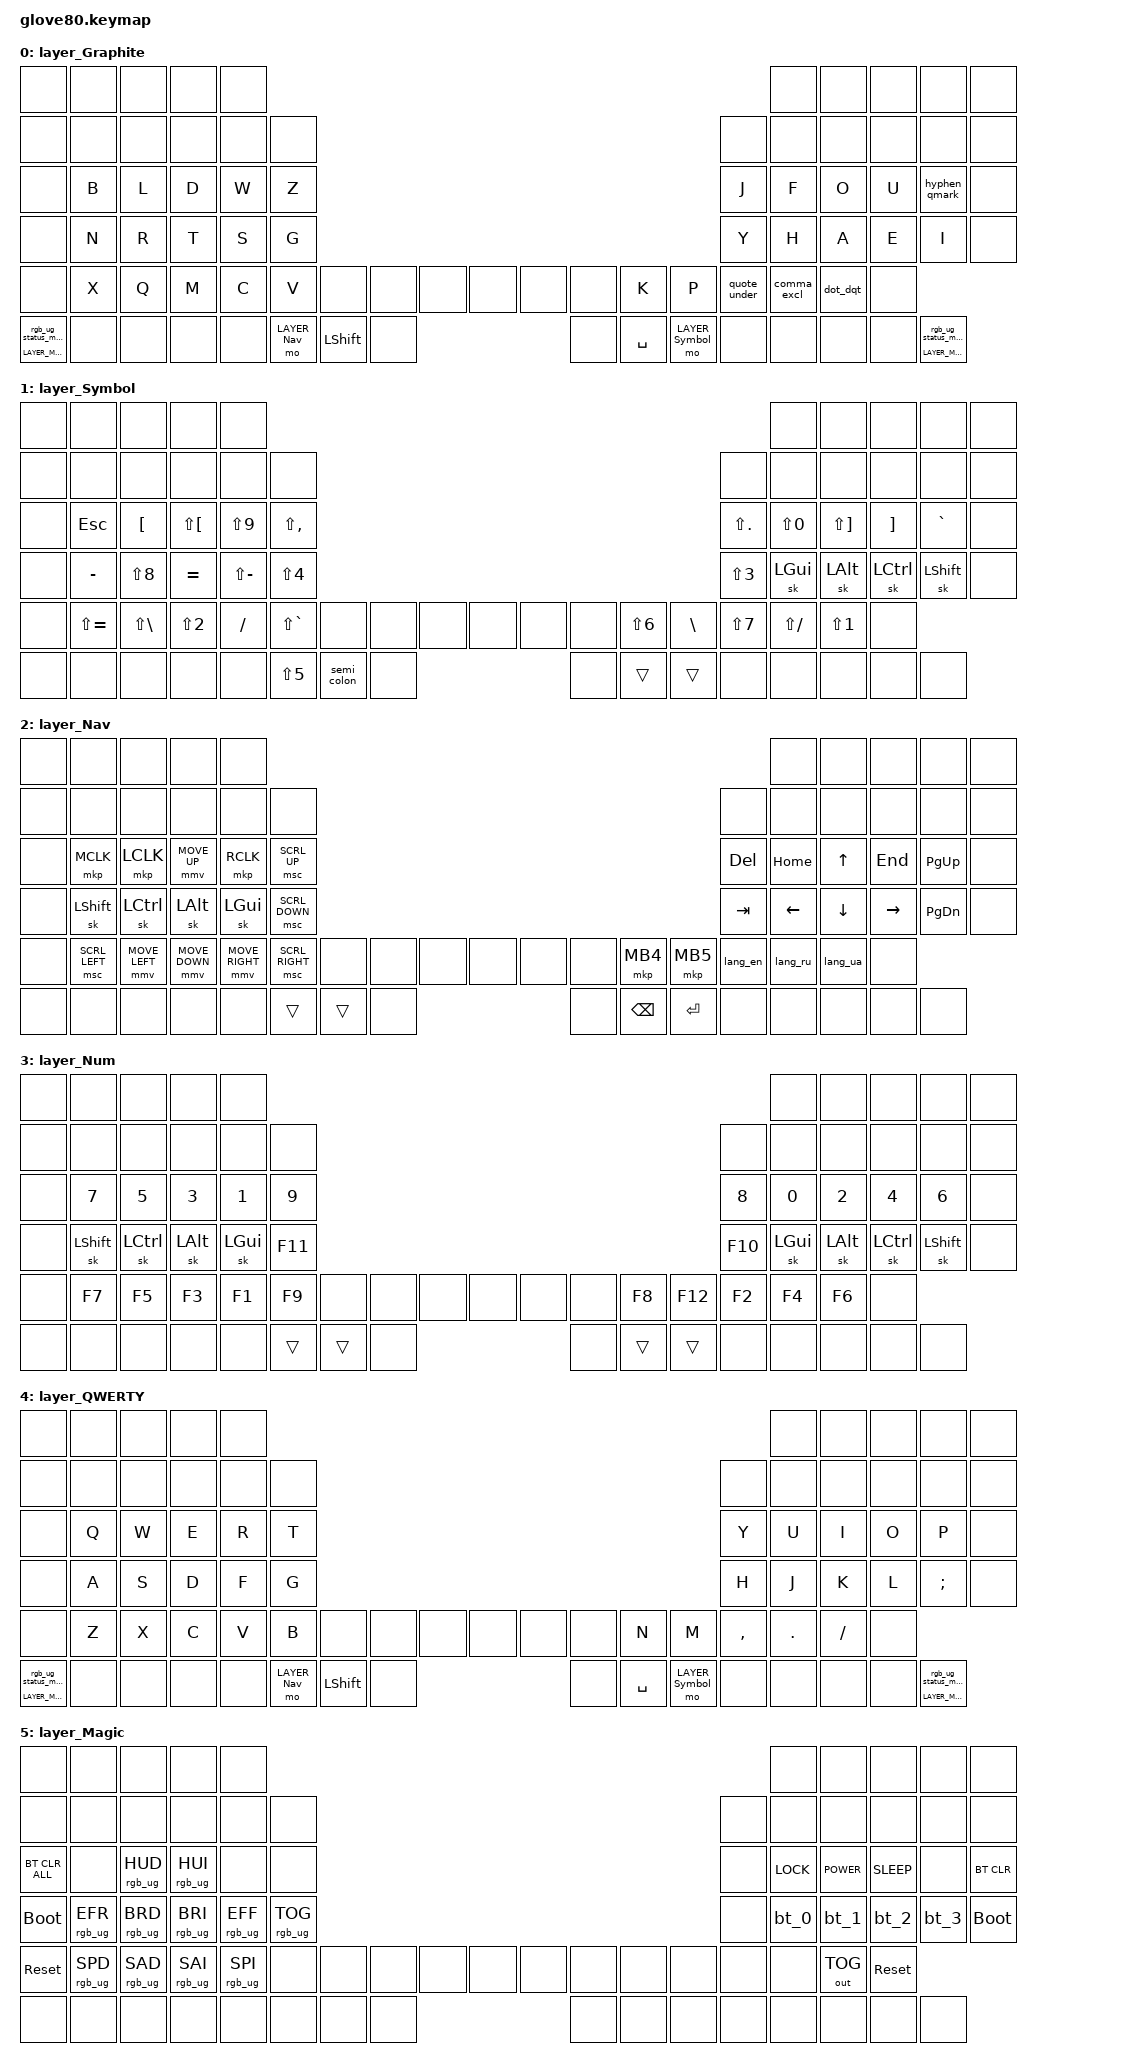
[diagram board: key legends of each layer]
/*
 * Copyright (c) 2020 The ZMK Contributors
 * Copyright (c) 2023 Innaworks Development Limited, trading as MoErgo
 *
 * SPDX-License-Identifier: MIT
 */

#include <behaviors.dtsi>
#include <dt-bindings/zmk/outputs.h>
#include <dt-bindings/zmk/keys.h>
#include <dt-bindings/zmk/bt.h>
#include <dt-bindings/zmk/rgb.h>

#define LAYER_Graphite 0
#define LAYER_Symbol 1
#define LAYER_Nav 2
#define LAYER_Num 3
#define LAYER_QWERTY 4
#define LAYER_Magic 5

#ifndef OPERATING_SYSTEM
#define OPERATING_SYSTEM 1 // linux
/* #define OPERATING_SYSTEM 2 // macos */
/* #define OPERATING_SYSTEM 3 // windows */
#endif

#if OPERATING_SYSTEM == 2
    #define _C      LG
    #define _REDO   _C(LS(Z))
    #define _POWER  K_POWER
    #define _W      LA
    #define _HOME   _C(LEFT)
    #define _END    _C(RIGHT)
    #define _LOCK   _C(LC(Q))
#elif OPERATING_SYSTEM == 1
    #define _C      LC
    #define _REDO   _C(Y)
    #define _POWER  C_POWER
    #define _W      _C
    #define _HOME   HOME
    #define _END    END
    #define _LOCK   K_LOCK
#elif OPERATING_SYSTEM == 3
    #define _C      LC
    #define _REDO   _C(Y)
    #define _POWER  C_POWER
    #define _W      _C
    #define _HOME   HOME
    #define _END    END
    #define _LOCK   LG(L)
#endif

#define _SLEEP      C_SLEEP
#define _SEL_ALL    _C(A)
#define _UNDO       _C(Z)
#define _CUT        _C(X)
#define _COPY       _C(C)
#define _PASTE      _C(V)
#define _SAVE       _C(S)
#define _FIND       _C(F)
#define _FIND_NEXT  _C(G)
#define _FIND_PREV  _C(LS(G))

// Symbol overrides for en-US
#ifndef KEYMAP_DRAWER
#undef  AMPS
#define AMPS  LS(N7)
#undef  AT
#define AT    LS(N2)
#undef  CARET
#define CARET LS(N6)
#undef  COLON
#define COLON LS(SEMI)
#undef  DLLR
#define DLLR  LS(N4)
#undef  DQT
#define DQT   LS(SQT)
#undef  EXCL
#define EXCL  LS(N1)
#undef  GT
#define GT    LS(DOT)
#undef  HASH
#define HASH  LS(N3)
#undef  LBRC
#define LBRC  LS(LBKT)
#undef  LPAR
#define LPAR  LS(N9)
#undef  LT
#define LT    LS(COMMA)
#undef  PIPE
#define PIPE  LS(BSLH)
#undef  PLUS
#define PLUS  LS(EQUAL)
#undef  PRCNT
#define PRCNT LS(N5)
#undef  QMARK
#define QMARK LS(FSLH)
#undef  RBRC
#define RBRC  LS(RBKT)
#undef  RPAR
#define RPAR  LS(N0)
#undef  STAR
#define STAR  LS(N8)
#undef  TILDE
#define TILDE LS(GRAVE)
#undef  UNDER
#define UNDER LS(MINUS)
#endif

#define ALPHA_LAYERS LAYER_Graphite LAYER_QWERTY
#define COMBO_TIMEOUT_MS 75

// Mouse configuration
#define ZMK_MOUSE_DEFAULT_MOVE_VAL 1600
#define ZMK_MOUSE_DEFAULT_SCRL_VAL 20
#include <dt-bindings/zmk/mouse.h>

&mmv {
    delay-ms = <0>;
    acceleration-exponent = <1>;
    time-to-max-speed-ms = <400>;
};

&msc {
    delay-ms = <0>;
    acceleration-exponent = <0>;
    time-to-max-speed-ms = <200>;
};

/ {
    macros {
        rgb_ug_status_macro: rgb_ug_status_macro {
            label = "RGB_UG_STATUS";
            compatible = "zmk,behavior-macro";
            #binding-cells = <0>;
            bindings = <&rgb_ug RGB_STATUS>;
        };

        lang_en: lang_en {
            compatible = "zmk,behavior-macro";
            #binding-cells = <0>;
            bindings = <&to LAYER_Graphite>, <&kp LC(LS(LG(N1)))>;
        };

        lang_ru: lang_ru {
            compatible = "zmk,behavior-macro";
            #binding-cells = <0>;
            bindings = <&to LAYER_QWERTY>, <&kp LC(LS(LG(N2)))>;
        };

        lang_ua: lang_ua {
            compatible = "zmk,behavior-macro";
            #binding-cells = <0>;
            bindings = <&to LAYER_QWERTY>, <&kp LC(LS(LG(N3)))>;
        };

        bt_0: bt_0 {
            compatible = "zmk,behavior-macro";
            #binding-cells = <0>;
            bindings = <&out OUT_BLE>, <&bt BT_SEL 0>;
        };

        bt_1: bt_1 {
            compatible = "zmk,behavior-macro";
            #binding-cells = <0>;
            bindings = <&out OUT_BLE>, <&bt BT_SEL 1>;
        };

        bt_2: bt_2 {
            compatible = "zmk,behavior-macro";
            #binding-cells = <0>;
            bindings = <&out OUT_BLE>, <&bt BT_SEL 2>;
        };

        bt_3: bt_3 {
            compatible = "zmk,behavior-macro";
            #binding-cells = <0>;
            bindings = <&out OUT_BLE>, <&bt BT_SEL 3>;
        };

    };

    behaviors {
        magic: magic {
            compatible = "zmk,behavior-hold-tap";
            label = "MAGIC_HOLD_TAP";
            #binding-cells = <2>;
            flavor = "tap-preferred";
            tapping-term-ms = <200>;
            bindings = <&mo>, <&rgb_ug_status_macro>;
        };

        w_caps: capsword_and_capslock {
            compatible = "zmk,behavior-mod-morph";
            label = "CAPSWORD_AND_CAPSLOCK";
            #binding-cells = <0>;
            bindings = <&caps_word>, <&kp CAPS>;
            mods = <(MOD_LSFT|MOD_RSFT)>;
        };

        quote_under: quote_and_underscore {
            compatible = "zmk,behavior-mod-morph";
            label = "QUOTE_AND_UNDERSCORE";
            #binding-cells = <0>;
            bindings = <&kp SQT>, <&kp UNDER>;
            mods = <(MOD_LSFT|MOD_RSFT)>;
        };

        hyphen_qmark: hyphen_and_question {
            compatible = "zmk,behavior-mod-morph";
            label = "HYPHEN_AND_QUESTION";
            #binding-cells = <0>;
            bindings = <&kp MINUS>, <&kp QMARK>;
            mods = <(MOD_LSFT|MOD_RSFT)>;
        };

        comma_excl: comma_and_excl {
            compatible = "zmk,behavior-mod-morph";
            label = "COMMA_AND_EXCL";
            #binding-cells = <0>;
            bindings = <&kp COMMA>, <&kp EXCL>;
            mods = <(MOD_LSFT|MOD_RSFT)>;
        };

        dot_dqt: dot_and_dqt {
            compatible = "zmk,behavior-mod-morph";
            label = "DOT_AND_DQT";
            #binding-cells = <0>;
            bindings = <&kp DOT>, <&kp DQT>;
            mods = <(MOD_LSFT|MOD_RSFT)>;
        };

        semi_colon: semi_and_colon {
            compatible = "zmk,behavior-mod-morph";
            label = "SEMI_AND_COLON";
            #binding-cells = <0>;
            bindings = <&kp SEMI>, <&kp COLON>;
            mods = <(MOD_LSFT|MOD_RSFT)>;
        };

        behavior_caps_word {
            continue-list = <
                UNDERSCORE MINUS
                BACKSPACE DELETE
                N1 N2 N3 N4 N5 N6 N7 N8 N9 N0
            >;
        };
    };

/*                    34-key layout on Glove80
 *          Outer columns, top 2 rows, and extra thumbs are all &none.
 *
 *          ╭─────────────────╮ ╭─────────────────╮
 *          │ 23 24 25 26 27  │ │  28 29 30 31 32 │
 *          │ 35 36 37 38 39  │ │  40 41 42 43 44 │
 *          │ 47 48 49 50 51  │ │  58 59 60 61 62 │
 *          ╰────────╮ 69 70  │ │  73 74 ╭────────╯
 *                   ╰────────╯ ╰────────╯
 *
 *  Graphite alpha:
 *          ╭─────────────────╮ ╭─────────────────╮
 *          │  B  L  D  W  Z  │ │  J  F  O  U  -  │
 *          │  N  R  T  S  G  │ │  Y  H  A  E  I  │
 *          │  X  Q  M  C  V  │ │  K  P  '  ,  .  │
 *          ╰────────╮NAV SFT │ │SPC SYM╭─────────╯
 *                   ╰────────╯ ╰───────╯
 *
 *  Callum-style: no mod-tap, oneshot mods (&sk) on SYM/NAV layers,
 *  tri-layer NUM when SYM+NAV held simultaneously.
 */

    combos {
        compatible = "zmk,combos";

        // Caps word: inner home row keys (S + Y)
        combo_caps {
            bindings = <&w_caps>;
            key-positions = <39 40>;
            layers = <ALPHA_LAYERS>;
            timeout-ms = <COMBO_TIMEOUT_MS>;
        };

        // Left-hand essential combos
        combo_esc {
            bindings = <&kp ESC>;
            key-positions = <25 26>; // D + W
            layers = <ALPHA_LAYERS>;
            timeout-ms = <COMBO_TIMEOUT_MS>;
        };

        combo_tab {
            bindings = <&kp TAB>;
            key-positions = <50 51>; // C + V (bottom inner)
            layers = <ALPHA_LAYERS>;
            timeout-ms = <COMBO_TIMEOUT_MS>;
        };

        // Left-hand modifier combos (hold + press with right hand)
        combo_ctrl {
            bindings = <&kp LCTRL>;
            key-positions = <35 36>; // N + R (home outer)
            layers = <ALPHA_LAYERS>;
            timeout-ms = <COMBO_TIMEOUT_MS>;
        };

        combo_gui {
            bindings = <&kp LGUI>;
            key-positions = <38 39>; // S + G (home inner)
            layers = <ALPHA_LAYERS>;
            timeout-ms = <COMBO_TIMEOUT_MS>;
        };

        combo_alt {
            bindings = <&kp LALT>;
            key-positions = <47 48>; // X + Q (bottom outer)
            layers = <ALPHA_LAYERS>;
            timeout-ms = <COMBO_TIMEOUT_MS>;
        };

        // Right-hand essential combos
        combo_ret {
            bindings = <&kp RET>;
            key-positions = <58 59>; // K + P (bottom inner)
            layers = <ALPHA_LAYERS>;
            timeout-ms = <COMBO_TIMEOUT_MS>;
        };

        combo_bspc {
            bindings = <&kp BSPC>;
            key-positions = <31 32>; // U + -
            layers = <ALPHA_LAYERS>;
            timeout-ms = <COMBO_TIMEOUT_MS>;
        };

        // Right-hand modifier combos (hold + press with left hand)
        combo_r_ctrl {
            bindings = <&kp LCTRL>;
            key-positions = <43 44>; // E + I (home outer, mirrors N + R)
            layers = <ALPHA_LAYERS>;
            timeout-ms = <COMBO_TIMEOUT_MS>;
        };

        combo_r_gui {
            bindings = <&kp LGUI>;
            key-positions = <40 41>; // Y + H (home inner, mirrors S + G)
            layers = <ALPHA_LAYERS>;
            timeout-ms = <COMBO_TIMEOUT_MS>;
        };

        combo_r_alt {
            bindings = <&kp LALT>;
            key-positions = <61 62>; // , + . (bottom outer, mirrors X + Q)
            layers = <ALPHA_LAYERS>;
            timeout-ms = <COMBO_TIMEOUT_MS>;
        };

        combo_f13 {
            bindings = <&kp F13>;
            key-positions = <60 61>; // ' + ,
            layers = <ALPHA_LAYERS>;
            timeout-ms = <COMBO_TIMEOUT_MS>;
        };
    };

    conditional_layers {
        compatible = "zmk,conditional-layers";

        tri_layer {
            if-layers = <LAYER_Symbol LAYER_Nav>;
            then-layer = <LAYER_Num>;
        };
    };

    keymap {
        compatible = "zmk,keymap";

        layer_Graphite {
            bindings = <
     &none   &none   &none   &none          &none                                                                                     &none   &none          &none        &none          &none
     &none   &none   &none   &none          &none   &none                                                                     &none   &none   &none          &none        &none          &none
     &none   &kp B   &kp L   &kp D          &kp W   &kp Z                                                                     &kp J   &kp F   &kp O          &kp U  &hyphen_qmark      &none
     &none   &kp N   &kp R   &kp T          &kp S   &kp G                                                                     &kp Y   &kp H   &kp A          &kp E        &kp I      &none
     &none   &kp X   &kp Q   &kp M          &kp C   &kp V   &none   &none   &none   &none       &none   &none   &kp K   &kp P  &quote_under  &comma_excl     &dot_dqt      &none
     &magic LAYER_Magic 0   &none   &none   &none   &none    &mo LAYER_Nav  &kp LSHFT   &none   &none  &kp SPC  &mo LAYER_Symbol   &none   &none          &none        &none  &magic LAYER_Magic 0
            >;
        };

        layer_Symbol {
            bindings = <
     &none      &none      &none      &none      &none                                                                                   &none      &none      &none      &none      &none
     &none      &none      &none      &none      &none      &none                                                              &none      &none      &none      &none      &none      &none
     &none   &kp ESC  &kp LBKT  &kp LBRC  &kp LPAR     &kp LT                                                               &kp GT  &kp RPAR  &kp RBRC  &kp RBKT  &kp GRAVE      &none
     &none &kp MINUS  &kp STAR &kp EQUAL &kp UNDER   &kp DLLR                                                             &kp HASH  &sk LGUI  &sk LALT &sk LCTRL &sk LSHFT      &none
     &none  &kp PLUS  &kp PIPE    &kp AT  &kp FSLH  &kp TILDE   &none   &none   &none   &none   &none   &none  &kp CARET  &kp BSLH  &kp AMPS  &kp QMARK   &kp EXCL      &none
     &none      &none      &none     &none     &none        &kp PRCNT  &semi_colon   &none   &none   &trans   &trans              &none      &none      &none      &none      &none
            >;
        };

        layer_Nav {
            bindings = <
     &none          &none          &none           &none           &none                                                                                         &none      &none      &none       &none       &none
     &none          &none          &none           &none           &none          &none                                                                  &none    &none      &none      &none       &none       &none
     &none      &mkp MCLK      &mkp LCLK    &mmv MOVE_UP      &mkp RCLK  &msc SCRL_UP                                                                &kp DEL  &kp _HOME     &kp UP   &kp _END    &kp PG_UP       &none
     &none      &sk LSHFT      &sk LCTRL       &sk LALT        &sk LGUI  &msc SCRL_DOWN                                                              &kp TAB  &kp LEFT   &kp DOWN  &kp RIGHT    &kp PG_DN       &none
     &none  &msc SCRL_LEFT  &mmv MOVE_LEFT  &mmv MOVE_DOWN  &mmv MOVE_RIGHT  &msc SCRL_RIGHT   &none   &none   &none   &none   &none   &none  &mkp MB4  &mkp MB5   &lang_en   &lang_ru    &lang_ua       &none
     &none          &none          &none           &none           &none               &trans   &trans   &none   &none  &kp BSPC   &kp RET                &none      &none      &none       &none       &none
            >;
        };

        layer_Num {
            bindings = <
     &none       &none       &none       &none       &none                                                                                     &none      &none      &none       &none       &none
     &none       &none       &none       &none       &none       &none                                                                &none    &none      &none      &none       &none       &none
     &none     &kp N7     &kp N5     &kp N3     &kp N1     &kp N9                                                                &kp N8    &kp N0     &kp N2     &kp N4      &kp N6       &none
     &none   &sk LSHFT  &sk LCTRL    &sk LALT       &sk LGUI  &kp F11                                                        &kp F10   &sk LGUI  &sk LALT   &sk LCTRL   &sk LSHFT     &none
     &none    &kp F7     &kp F5     &kp F3     &kp F1     &kp F9   &none   &none   &none   &none   &none   &none    &kp F8   &kp F12    &kp F2     &kp F4      &kp F6       &none
     &none       &none       &none      &none      &none           &trans   &trans   &none   &none   &trans   &trans             &none      &none      &none       &none       &none
            >;
        };

        layer_QWERTY {
            bindings = <
     &none   &none   &none   &none   &none                                                                                     &none      &none    &none      &none      &none
     &none   &none   &none   &none   &none   &none                                                                     &none   &none      &none    &none      &none      &none
     &none   &kp Q   &kp W   &kp E   &kp R   &kp T                                                                     &kp Y   &kp U      &kp I    &kp O      &kp P      &none
     &none   &kp A   &kp S   &kp D   &kp F   &kp G                                                                     &kp H   &kp J      &kp K    &kp L   &kp SEMI      &none
     &none   &kp Z   &kp X   &kp C   &kp V   &kp B   &none   &none   &none   &none       &none   &none   &kp N   &kp M  &kp COMMA  &kp DOT   &kp FSLH      &none
     &magic LAYER_Magic 0   &none   &none   &none   &none    &mo LAYER_Nav  &kp LSHFT   &none   &none  &kp SPC  &mo LAYER_Symbol   &none      &none    &none      &none  &magic LAYER_Magic 0
            >;
        };

        layer_Magic {
            bindings = <
          &none            &none            &none            &none            &none                                                                                  &none       &none       &none         &none        &none
          &none            &none            &none            &none            &none            &none                                                      &none      &none       &none       &none         &none        &none
 &bt BT_CLR_ALL            &none  &rgb_ug RGB_HUD  &rgb_ug RGB_HUI            &none            &none                                                      &none  &kp _LOCK  &kp _POWER  &kp _SLEEP         &none   &bt BT_CLR
    &bootloader  &rgb_ug RGB_EFR  &rgb_ug RGB_BRD  &rgb_ug RGB_BRI  &rgb_ug RGB_EFF  &rgb_ug RGB_TOG                                                      &none      &bt_0       &bt_1       &bt_2         &bt_3  &bootloader
     &sys_reset  &rgb_ug RGB_SPD  &rgb_ug RGB_SAD  &rgb_ug RGB_SAI  &rgb_ug RGB_SPI            &none   &none   &none   &none   &none   &none   &none      &none      &none       &none       &none  &out OUT_TOG   &sys_reset
          &none            &none            &none            &none            &none                    &none   &none   &none   &none   &none   &none                  &none       &none       &none         &none        &none
            >;
        };

    };
};
